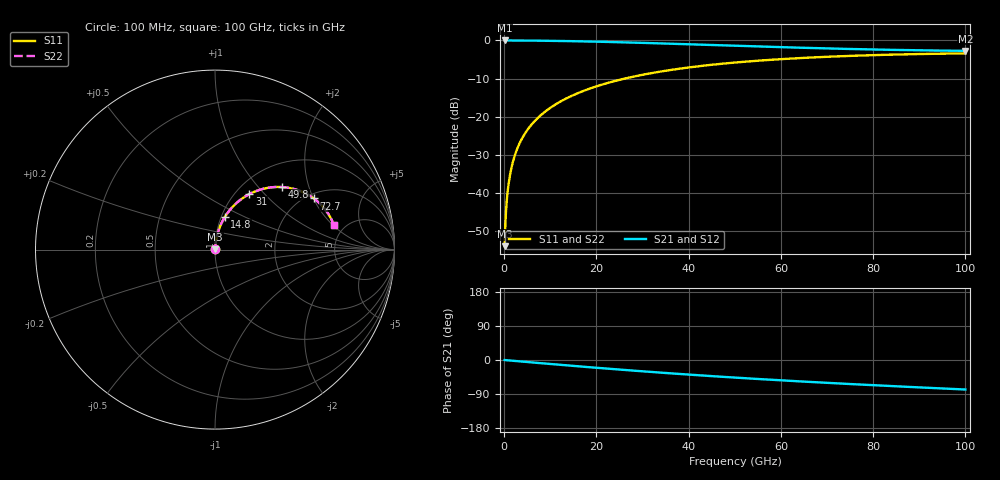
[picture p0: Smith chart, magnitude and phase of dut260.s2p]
! Touchstone file exported from HFSS 2026.1.0
!  File:  C:/ffzhzh/LocalFiles/Ansys_Project_Files/temp_train_RDL_260_1783501663_9504.aedt
!  Generated:  05:08:58 PM Jul  8, 2026
!  Design:  RDL
!  Project:  temp_train_RDL_260_1783501663_9504
! Variables:
!  h_bsmrdl = 2um
!  h_ox = 20um
!  h_rdl = 5um
!  h_sub = 80um
!  h_tmrdl = 3.66um
!  h_tsv = 80um
!  h_via = 3um
!  l_bsmrdl = 300um
!  l_sub = 618.13um
!  l_tmrdl = 218.13um
!  m_sub = 200um
!  pitch = 57.12um
!  r_tsv = 6um
!  s_tmrdl = 10um
!  w_bsmrdl = 18um
!  w_sub = 500um
!  w_tmrdl = 16.63um
!  x_tsv_center1 = 226.445um
!  x_tsv_center2 = 544.445um
!  x_tsv_center3 = 779.205um
!  x_tsv_center4 = 1097.205um
!  x_tsv_center5 = 1331.965um
!  x_tsv_center6 = 1649.965um
# GHz S MA R 50.000000
! Terminal data exported
! Port[1] = TM_RDL1_1_T1
! Port[2] = TM_RDL1_1_T2
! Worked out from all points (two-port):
!   1000 points, 100 MHz to 100 GHz, reference 50 ohm
!   highest |S21| = -0.01 dB at 100 MHz (marker M1); lowest = -2.7 dB at 100 GHz (marker M2)
!   |S21| within 3 dB of the highest: start of sweep to end of sweep
!   lowest |S11| = -53.9 dB at 100 MHz (marker M3), VSWR 1.00, Z = 50.1 + j0.141 ohm
!   |S11| at or under -10 dB: start of sweep to 26.16 GHz
!   |S22| runs from -53.9 to -3.4 dB; largest |S21 - S12| = 6.5e-15
!   S11 on the Smith chart (normalised r, x): 100 MHz: 1.00, +0.00; 14.8 GHz: 1.04, +0.39; 31 GHz: 1.16, +0.83; 49.8 GHz: 1.44, +1.36; 72.7 GHz: 2.17, +2.01; 100 GHz: 4.09, +2.06
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0.1  0.00201 44.3  0.9986 -0.1  0.9986 -0.1  0.00201 44.3
! Gamma 0 0 0 0
! Port Impedance 50 0 50 0
0.4  0.005736 73.8  0.9984 -0.4  0.9984 -0.4  0.005736 73.8
0.8  0.011 80.4  0.9983 -0.9  0.9983 -0.9  0.011 80.4
1  0.01364 81.7  0.9982 -1.1  0.9982 -1.1  0.01364 81.7
1.3  0.01763 82.9  0.9981 -1.4  0.9981 -1.4  0.01763 82.9
1.7  0.02295 83.7  0.9979 -1.8  0.9979 -1.8  0.02295 83.7
2.2  0.02961 84.0  0.9977 -2.4  0.9977 -2.4  0.02961 84.0
3.6  0.04819 83.6  0.9967 -3.8  0.9967 -3.8  0.04819 83.6
5.5  0.07313 82.1  0.9947 -5.8  0.9947 -5.8  0.07313 82.1
7.9  0.1041 79.9  0.9913 -8.3  0.9913 -8.3  0.1041 79.9
11  0.1431 76.9  0.9857 -11.5  0.9857 -11.5  0.1431 76.9
14.8  0.1895 73.2  0.9771 -15.4  0.9771 -15.4  0.1895 73.2
16.8  0.2132 71.3  0.972 -17.4  0.972 -17.4  0.2132 71.3
23.2  0.2851 65.3  0.9527 -23.6  0.9527 -23.6  0.2851 65.3
31  0.3639 58.2  0.925 -30.8  0.925 -30.8  0.3639 58.2
33.4  0.3861 56.1  0.9159 -32.9  0.9159 -32.9  0.3861 56.1
49.8  0.5112 43.0  0.8524 -46.3  0.8524 -46.3  0.5113 43.0
50.1  0.5131 42.7  0.8512 -46.5  0.8512 -46.5  0.5131 42.8
66.7  0.5975 31.2  0.7948 -58.1  0.7948 -58.1  0.5975 31.2
72.7  0.6195 27.4  0.7779 -62.0  0.7779 -62.0  0.6195 27.4
83.4  0.6496 21.0  0.7533 -68.5  0.7533 -68.5  0.6496 21.0
100  0.6762 11.7  0.7296 -77.9  0.7296 -77.9  0.6763 11.7
